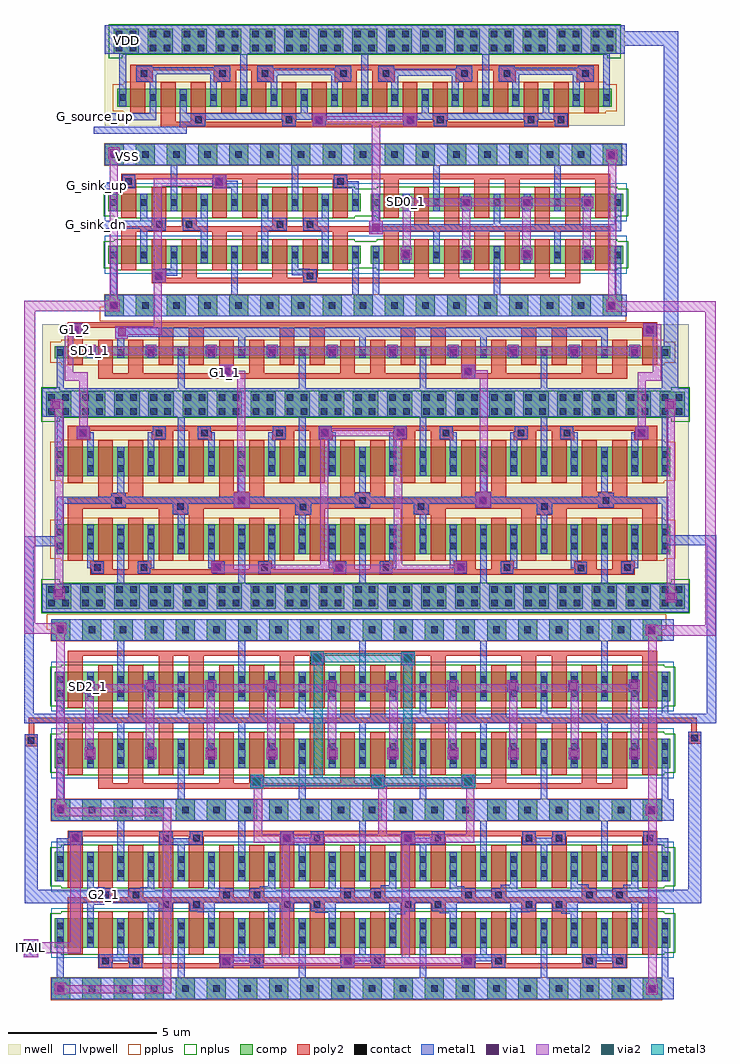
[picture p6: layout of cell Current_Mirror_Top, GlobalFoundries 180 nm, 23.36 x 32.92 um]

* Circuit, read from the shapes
.subckt Current_Mirror_Top G1_1 G1_2 G2_1 G_sink_dn G_sink_up G_source_dn G_source_up ITAIL SD0_1 SD1_1 SD2_1 VDD VSS
XM1 G2_1 G2_1 VSS VSS nfet_03v3 w=1u l=0.5u m=20
XM2 G2_1 ITAIL ITAIL VSS nfet_03v3 w=1u l=0.5u m=20
XM3 SD2_1 G2_1 VSS VSS nfet_03v3 w=1u l=0.5u m=20
XM4 SD2_1 ITAIL G1_1 VSS nfet_03v3 w=1u l=0.5u m=20
XM5 G_sink_dn G_sink_dn VSS VSS nfet_03v3 w=0.6u l=0.5u m=8
XM6 G_sink_dn G_sink_up G_sink_up VSS nfet_03v3 w=0.6u l=0.5u m=8
XM7 SD0_1 G_sink_dn VSS VSS nfet_03v3 w=0.6u l=0.5u m=8
XM8 SD0_1 G_sink_up G_source_dn VSS nfet_03v3 w=0.6u l=0.5u m=8
XM9 G1_2 G1_1 G1_1 VDD pfet_03v3 w=1u l=0.5u m=20
XM10 G1_2 G1_2 VDD VDD pfet_03v3 w=1u l=0.5u m=20
XM11 SD1_1 G1_2 VDD VDD pfet_03v3 w=0.4u l=0.5u m=10
XM12 G_sink_up G1_1 SD1_1 VDD pfet_03v3 w=0.4u l=0.5u m=10
XM13 G_source_up G_source_up VDD VDD pfet_03v3 w=0.6u l=0.5u m=8
XM14 G_source_dn G_source_dn G_source_up VDD pfet_03v3 w=0.6u l=0.5u m=8
.ends

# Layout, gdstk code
import gdstk
lib = gdstk.Library(unit=1e-6, precision=1e-09)
def R(c, l, rs):  # rectangles x0, y0, x1, y1
    for r in rs: c.add(gdstk.rectangle(r[:2], r[2:], *l))
def A(c, l, x, y, w, h, nx, ny, dx, dy):  # array of equal rectangles
    R(c, l, [(x+i*dx, y+j*dy, x+i*dx+w, y+j*dy+h) for i in range(nx) for j in range(ny)])
nwell = (21, 0)
comp = (22, 0)
poly2 = (30, 0)
pplus = (31, 0)
nplus = (32, 0)
contact = (33, 0)
metal1 = (34, 0)
via1 = (35, 0)
metal2 = (36, 0)
via2 = (38, 0)
metal3 = (42, 0)
lvpwell = (204, 0)

nmos_3p3_z2jhd6 = lib.new_cell('nmos_3p3_Z2JHD6')
R(nmos_3p3_z2jhd6, comp, [(-10.38,-0.5,10.38,0.5)])
A(nmos_3p3_z2jhd6, poly2, -9.94, -0.72, 0.5, 1.44, 20, 1, 1.02, 0)
R(nmos_3p3_z2jhd6, nplus, [(-10.17,-0.73,10.17,-0.66), (-10.54,-0.66,10.54,0.66), (-10.17,0.66,10.17,0.73)])
A(nmos_3p3_z2jhd6, contact, -10.31, -0.345, 0.22, 0.22, 21, 2, 1.02, 0.47)
A(nmos_3p3_z2jhd6, metal1, -10.315, -0.49, 0.23, 0.98, 21, 1, 1.02, 0)
R(nmos_3p3_z2jhd6, lvpwell, [(-10.5,-0.84,10.5,0.84)])

pmos_3p3_zbcnd7 = lib.new_cell('pmos_3p3_ZBCND7')
R(pmos_3p3_zbcnd7, nwell, [(-10.81,-1.15,10.81,1.15)])
R(pmos_3p3_zbcnd7, comp, [(-10.38,-0.5,10.38,0.5)])
A(pmos_3p3_zbcnd7, poly2, -9.94, -0.72, 0.5, 1.44, 20, 1, 1.02, 0)
R(pmos_3p3_zbcnd7, pplus, [(-10.17,-0.73,10.17,-0.66), (-10.54,-0.66,10.54,0.66), (-10.17,0.66,10.17,0.73)])
A(pmos_3p3_zbcnd7, contact, -10.31, -0.345, 0.22, 0.22, 21, 2, 1.02, 0.47)
A(pmos_3p3_zbcnd7, metal1, -10.315, -0.49, 0.23, 0.98, 21, 1, 1.02, 0)

pmos_3p3_5qr9e7 = lib.new_cell('pmos_3p3_5QR9E7')
R(pmos_3p3_5qr9e7, nwell, [(-10.81,-0.85,10.81,0.85)])
R(pmos_3p3_5qr9e7, comp, [(-10.38,-0.2,10.38,0.2)])
A(pmos_3p3_5qr9e7, poly2, -9.94, -0.42, 0.5, 0.84, 20, 1, 1.02, 0)
R(pmos_3p3_5qr9e7, pplus, [(-10.17,-0.43,10.17,-0.36), (-10.54,-0.36,10.54,0.36), (-10.17,0.36,10.17,0.43)])
A(pmos_3p3_5qr9e7, contact, -10.31, -0.11, 0.22, 0.22, 21, 1, 1.02, 0)
A(pmos_3p3_5qr9e7, metal1, -10.315, -0.19, 0.23, 0.38, 21, 1, 1.02, 0)

nmos_3p3_ajea3b = lib.new_cell('nmos_3p3_AJEA3B')
R(nmos_3p3_ajea3b, comp, [(-4.26,-0.3,4.26,0.3)])
A(nmos_3p3_ajea3b, poly2, -3.82, -0.52, 0.5, 1.04, 8, 1, 1.02, 0)
R(nmos_3p3_ajea3b, nplus, [(-4.05,-0.53,4.05,-0.46), (-4.42,-0.46,4.42,0.46), (-4.05,0.46,4.05,0.53)])
A(nmos_3p3_ajea3b, contact, -4.19, -0.11, 0.22, 0.22, 9, 1, 1.02, 0)
A(nmos_3p3_ajea3b, metal1, -4.195, -0.29, 0.23, 0.58, 9, 1, 1.02, 0)
R(nmos_3p3_ajea3b, lvpwell, [(-4.38,-0.64,4.38,0.64)])

pmos_3p3_dvj9e7 = lib.new_cell('pmos_3p3_DVJ9E7')
R(pmos_3p3_dvj9e7, nwell, [(-8.77,-0.95,8.77,0.95)])
R(pmos_3p3_dvj9e7, comp, [(-8.34,-0.3,8.34,0.3)])
A(pmos_3p3_dvj9e7, poly2, -7.9, -0.52, 0.5, 1.04, 16, 1, 1.02, 0)
R(pmos_3p3_dvj9e7, pplus, [(-8.13,-0.53,8.13,-0.46), (-8.5,-0.46,8.5,0.46), (-8.13,0.46,8.13,0.53)])
A(pmos_3p3_dvj9e7, contact, -8.27, -0.11, 0.22, 0.22, 17, 1, 1.02, 0)
A(pmos_3p3_dvj9e7, metal1, -8.275, -0.29, 0.23, 0.58, 17, 1, 1.02, 0)

current_mirror_top = lib.new_cell('Current_Mirror_Top')
R(current_mirror_top, nwell, [(-0.31,12.015,21.495,13.475), (0.795,13.475,3.095,13.835), (21.31,13.475,21.495,13.835), (-0.31,13.835,21.495,17.45), (-0.31,17.45,3.305,17.825), (21.305,17.45,21.495,17.825), (-0.31,17.825,5.405,18.135), (5.43,17.825,21.495,18.135), (-0.31,18.135,21.495,20.68), (-0.31,20.68,1.49,21.55), (21.31,20.68,21.495,21.55), (-0.31,21.55,21.495,21.735), (1.8,28.425,3.7,29.645), (1.8,29.645,19.305,30.325), (1.8,30.325,19.34,31.82)])
A(current_mirror_top, comp, 0, -1.045, 0.64, 0.73, 20, 2, 1.05, 6.025)
A(current_mirror_top, comp, 0, 11.055, 0.64, 0.73, 20, 1, 1.05, 0)
A(current_mirror_top, comp, -0.175, 12.135, 0.85, 0.84, 19, 2, 1.15, 6.475)
A(current_mirror_top, comp, 1.8, 22, 0.64, 0.73, 17, 2, 1.05, 5.095)
A(current_mirror_top, comp, 2.1, 30.86, 0.85, 0.84, 15, 1, 1.15, 0)
R(current_mirror_top, poly2, [(1.58,0,19.42,0.18), (1.58,0.18,2.08,0.5), (2.6,0.18,3.1,0.5), (5.66,0.18,6.16,0.5), (6.68,0.18,7.18,0.5), (9.74,0.18,10.24,0.5), (10.76,0.18,11.26,0.5), (13.82,0.18,14.32,0.5), (14.84,0.18,15.34,0.5), (17.9,0.18,18.4,0.5), (18.92,0.18,19.42,0.5), (0.56,1.695,1.06,2.225), (3.62,1.695,4.12,2.225), (4.64,1.695,5.14,2.225), (7.7,1.695,8.2,2.225), (8.72,1.695,9.22,2.225), (11.78,1.695,12.28,2.225), (12.8,1.695,13.3,2.225), (15.86,1.695,16.36,2.225), (16.88,1.695,17.38,2.225), (19.94,1.695,20.44,2.225), (0.56,2.225,20.44,2.405), (1.58,2.405,2.08,2.725), (2.6,2.405,3.1,2.725), (5.66,2.405,6.16,2.725), (6.68,2.405,7.18,2.725), (9.74,2.405,10.24,2.725), (10.76,2.405,11.26,2.725), (13.82,2.405,14.32,2.725), (14.84,2.405,15.34,2.725), (17.9,2.405,18.4,2.725), (18.92,2.405,19.42,2.725), (3.62,4.14,4.12,4.465), (0.56,4.145,1.06,4.465), (4.64,4.145,5.14,4.465), (7.7,4.145,8.2,4.465), (8.72,4.145,9.22,4.465), (11.78,4.145,12.28,4.465), (12.8,4.145,13.3,4.465), (15.86,4.145,16.36,4.465), (16.88,4.145,17.38,4.465), (19.94,4.145,20.44,4.465), (0.56,4.465,20.44,4.645), (1.58,6.06,19.42,6.24), (1.58,6.24,2.08,6.535), (2.6,6.24,3.1,6.535), (5.66,6.24,6.16,6.535), (6.68,6.24,7.18,6.56), (9.74,6.24,10.24,6.535), (10.76,6.24,11.26,6.56), (13.82,6.24,14.32,6.56), (14.84,6.24,15.34,6.535), (17.9,6.24,18.4,6.535), (18.92,6.24,19.42,6.535), (-0.905,7.49,-0.46,7.895), (21.48,7.575,21.925,7.99), (0.56,7.755,1.06,8.285), (3.62,7.755,4.12,8.285), (4.64,7.755,5.14,8.285), (7.7,7.755,8.2,8.285), (8.72,7.755,9.22,8.285), (11.78,7.755,12.28,8.285), (12.8,7.755,13.3,8.285), (15.86,7.755,16.36,8.285), (16.88,7.755,17.38,8.285), (19.94,7.755,20.44,8.285), (-0.755,7.895,-0.575,8.285), (21.59,7.99,21.77,8.285), (-0.755,8.285,21.77,8.465), (1.58,8.465,2.08,8.79), (2.6,8.465,3.1,8.79), (5.66,8.465,6.16,8.79), (6.68,8.465,7.18,8.79), (9.74,8.465,10.24,8.79), (10.76,8.465,11.26,8.79), (13.82,8.465,14.32,8.79), (14.84,8.465,15.34,8.79), (17.9,8.465,18.4,8.79), (18.92,8.465,19.42,8.79), (11.78,10.21,12.28,10.54), (8.72,10.22,9.22,10.54), (0.56,10.23,1.06,10.54), (3.62,10.23,4.12,10.54), (4.64,10.23,5.14,10.54), (7.7,10.23,8.2,10.54), (12.8,10.23,13.3,10.54), (15.86,10.23,16.36,10.54), (16.88,10.23,17.38,10.54), (19.94,10.23,20.44,10.54), (0.56,10.54,20.44,10.72), (1.32,13.285,19.68,13.465), (1.32,13.465,2.08,13.76), (2.6,13.465,3.365,13.76), (5.395,13.465,6.16,13.76), (6.68,13.465,7.43,13.76), (9.5,13.465,10.24,13.76), (10.76,13.465,11.525,13.76), (13.57,13.465,14.32,13.76), (14.84,13.465,15.605,13.76), (17.635,13.465,18.4,13.74), (18.92,13.465,19.68,13.76), (17.9,13.74,18.4,13.98), (1.58,13.76,2.08,13.98), (2.6,13.76,3.1,13.98), (5.66,13.76,6.16,13.98), (6.68,13.76,7.18,13.98), (9.74,13.76,10.24,13.98), (10.76,13.76,11.26,13.98), (13.82,13.76,14.32,13.98), (14.84,13.76,15.34,13.98), (18.92,13.76,19.42,13.98), (0.56,14.98,1.06,15.51), (3.62,14.98,4.12,15.3), (4.64,14.98,5.14,15.3), (7.7,14.98,8.2,15.28), (8.72,14.98,9.22,15.28), (11.78,14.98,12.28,15.305), (12.8,14.98,13.3,15.305), (15.86,14.98,16.36,15.295), (16.88,14.98,17.38,15.295), (19.94,14.98,20.44,15.51), (7.7,15.28,9.22,15.51), (15.86,15.295,17.38,15.51), (3.62,15.3,5.14,15.51), (11.78,15.305,13.3,15.51), (0.56,15.51,20.44,15.865), (1.58,15.865,3.1,16.05), (5.66,15.865,7.18,16.075), (9.74,15.865,11.26,16.065), (13.82,15.865,15.34,16.085), (17.9,15.865,19.42,16.075), (1.58,16.05,2.08,16.605), (2.6,16.05,3.1,16.605), (9.74,16.065,10.24,16.605), (10.76,16.065,11.26,16.605), (5.66,16.075,6.16,16.605), (6.68,16.075,7.18,16.605), (17.9,16.075,18.4,16.605), (18.92,16.075,19.42,16.605), (13.82,16.085,14.32,16.605), (14.84,16.085,15.34,16.605), (0.56,17.605,1.06,17.825), (3.62,17.605,4.12,17.825), (4.64,17.605,5.14,17.825), (7.7,17.605,8.2,17.825), (8.72,17.605,9.22,17.825), (11.78,17.605,12.28,17.825), (12.8,17.605,13.3,17.825), (15.86,17.605,16.36,17.825), (16.88,17.605,17.38,17.825), (19.94,17.605,20.44,17.825), (0.56,17.825,1.32,18.135), (3.395,17.825,4.12,18.135), (4.64,17.825,5.405,18.135), (7.45,17.825,8.2,18.135), (8.72,17.825,9.485,18.135), (11.53,17.825,12.28,18.135), (12.8,17.825,13.56,18.135), (15.6,17.825,16.36,18.135), (16.88,17.825,17.635,18.135), (19.665,17.825,20.44,18.135), (0.56,18.135,20.44,18.315), (1.58,19.89,19.42,20.07), (1.58,20.07,2.08,20.585), (2.6,20.07,3.1,20.585), (5.66,20.07,6.16,20.585), (6.68,20.07,7.18,20.585), (9.74,20.07,10.24,20.585), (10.76,20.07,11.26,20.585), (13.82,20.07,14.32,20.585), (14.84,20.07,15.34,20.585), (17.9,20.07,18.4,20.585), (18.92,20.07,19.42,20.585), (0.56,21.085,1.06,21.615), (3.62,21.085,4.12,21.615), (4.64,21.085,5.14,21.615), (7.7,21.085,8.2,21.615), (8.72,21.085,9.22,21.615), (11.78,21.085,12.28,21.615), (12.8,21.085,13.3,21.615), (15.86,21.085,16.36,21.615), (16.88,21.085,17.38,21.615), (19.94,21.085,20.44,21.615), (0.56,21.615,20.44,21.795), (3.38,23.115,17.835,23.295), (3.38,23.295,3.88,23.615), (4.4,23.295,4.9,23.555), (7.46,23.295,7.96,23.555), (8.48,23.295,8.98,23.615), (12.235,23.295,12.735,23.775), (13.255,23.295,13.755,23.775), (16.315,23.295,16.815,23.775), (17.335,23.295,17.835,23.775), (2.36,24.375,2.86,24.855), (5.42,24.375,5.92,24.855), (6.44,24.375,6.94,24.855), (9.5,24.375,10,24.855), (11.215,24.375,11.715,24.855), (14.275,24.375,14.775,24.855), (15.295,24.375,15.795,24.855), (18.355,24.375,18.855,24.855), (2.36,24.855,18.855,25.035), (3.38,25.035,3.88,25.355), (4.4,25.035,4.9,25.355), (7.46,25.035,7.96,25.355), (8.48,25.035,8.98,25.355), (12.235,25.035,12.735,25.54), (13.255,25.035,13.755,25.54), (16.315,25.035,16.815,25.54), (17.335,25.035,17.835,25.54), (11.215,26.14,11.715,26.62), (14.275,26.14,14.775,26.62), (15.295,26.14,15.795,26.62), (18.355,26.14,18.855,26.62), (2.36,26.3,2.86,26.62), (5.42,26.3,5.92,26.62), (9.5,26.3,10,26.62), (6.44,26.36,6.94,26.62), (2.36,26.62,18.855,26.8), (3.69,28.38,17.45,28.56), (3.69,28.56,4.19,29.075), (4.71,28.56,5.21,29.075), (7.77,28.56,8.27,29.075), (8.79,28.56,9.29,29.075), (11.85,28.56,12.35,29.075), (12.87,28.56,13.37,29.075), (15.93,28.56,16.43,29.075), (16.95,28.56,17.45,29.075), (2.67,29.675,3.17,29.895), (5.73,29.675,6.23,29.895), (6.75,29.675,7.25,29.895), (9.81,29.675,10.31,29.895), (10.83,29.675,11.33,29.895), (13.89,29.675,14.39,29.895), (14.91,29.675,15.41,29.895), (17.97,29.675,18.47,29.895), (2.67,29.895,3.425,30.305), (5.475,29.895,6.23,30.305), (6.75,29.895,7.505,30.305), (9.555,29.895,10.31,30.305), (10.83,29.895,11.585,30.305), (13.635,29.895,14.39,30.305), (14.91,29.895,15.665,30.305), (17.725,29.895,18.47,30.305), (2.67,30.305,18.47,30.485)])
R(current_mirror_top, pplus, [(-0.02,-1.065,20.61,-0.295), (-0.02,4.96,20.61,5.73), (-0.02,11.035,20.61,11.425), (-0.16,11.425,20.75,11.945), (1.64,21.84,19.4,22.325), (1.78,22.325,19.26,22.75), (1.78,27.075,19.26,27.845)])
R(current_mirror_top, nplus, [(-0.335,11.975,21.535,13.005), (-0.335,13.005,0.28,13.135), (20.905,13.005,21.535,13.135), (-0.335,18.45,0.28,18.58), (20.905,18.45,21.535,18.58), (-0.335,18.58,21.535,19.48), (-0.335,19.48,0.28,19.61), (20.905,19.48,21.535,19.61), (10.6,23.615,10.615,24.535), (10.6,25.38,10.615,26.3), (1.94,30.7,2.39,30.83), (18.75,30.7,19.21,30.83), (1.94,30.83,19.21,31.86)])
A(current_mirror_top, contact, 0.21, -0.785, 0.22, 0.22, 20, 2, 1.05, 6.025)
A(current_mirror_top, contact, 0.21, 11.315, 0.22, 0.22, 20, 1, 1.05, 0)
A(current_mirror_top, contact, 2.01, 22.26, 0.22, 0.22, 17, 2, 1.05, 5.095)
R(current_mirror_top, contact, [(1.72,0.14,1.94,0.36), (2.74,0.14,2.96,0.36), (5.8,0.14,6.02,0.36), (6.82,0.14,7.04,0.36), (9.88,0.14,10.1,0.36), (10.9,0.14,11.12,0.36), (13.96,0.14,14.18,0.36), (14.98,0.14,15.2,0.36), (18.04,0.14,18.26,0.36), (19.06,0.14,19.28,0.36), (3.76,2.045,3.98,2.265), (4.78,2.045,5,2.265), (7.84,2.045,8.06,2.265), (8.86,2.045,9.08,2.265), (11.92,2.045,12.14,2.265), (12.94,2.045,13.16,2.265), (16,2.045,16.22,2.265), (17.02,2.045,17.24,2.265), (1.72,2.365,1.94,2.585), (2.74,2.365,2.96,2.585), (5.8,2.365,6.02,2.585), (6.82,2.365,7.04,2.585), (9.88,2.365,10.1,2.585), (10.9,2.365,11.12,2.585), (13.96,2.365,14.18,2.585), (14.98,2.365,15.2,2.585), (18.04,2.365,18.26,2.585), (19.06,2.365,19.28,2.585), (3.76,4.28,3.98,4.5), (0.7,4.285,0.92,4.505), (4.78,4.285,5,4.505), (7.84,4.285,8.06,4.505), (8.86,4.285,9.08,4.505), (11.92,4.285,12.14,4.505), (12.94,4.285,13.16,4.505), (16,4.285,16.22,4.505), (17.02,4.285,17.24,4.505), (20.08,4.285,20.3,4.505), (6.82,6.2,7.04,6.42), (10.9,6.2,11.12,6.42), (13.96,6.2,14.18,6.42), (-0.8,7.58,-0.58,7.8), (21.59,7.665,21.81,7.885), (11.92,10.35,12.14,10.57), (8.86,10.36,9.08,10.58), (-0.105,12.21,0.115,12.43), (0.365,12.21,0.585,12.43), (1.045,12.21,1.265,12.43), (1.515,12.21,1.735,12.43), (2.195,12.21,2.415,12.43), (2.665,12.21,2.885,12.43), (3.345,12.21,3.565,12.43), (3.815,12.21,4.035,12.43), (4.495,12.21,4.715,12.43), (4.965,12.21,5.185,12.43), (5.645,12.21,5.865,12.43), (6.115,12.21,6.335,12.43), (6.795,12.21,7.015,12.43), (7.265,12.21,7.485,12.43), (7.945,12.21,8.165,12.43), (8.415,12.21,8.635,12.43), (9.095,12.21,9.315,12.43), (9.565,12.21,9.785,12.43), (10.245,12.21,10.465,12.43), (10.715,12.21,10.935,12.43), (11.395,12.21,11.615,12.43), (11.865,12.21,12.085,12.43), (12.545,12.21,12.765,12.43), (13.015,12.21,13.235,12.43), (13.695,12.21,13.915,12.43), (14.165,12.21,14.385,12.43), (14.845,12.21,15.065,12.43), (15.315,12.21,15.535,12.43), (15.995,12.21,16.215,12.43), (16.465,12.21,16.685,12.43), (17.145,12.21,17.365,12.43), (17.615,12.21,17.835,12.43), (18.295,12.21,18.515,12.43), (18.765,12.21,18.985,12.43), (19.445,12.21,19.665,12.43), (19.915,12.21,20.135,12.43), (20.595,12.21,20.815,12.43), (21.065,12.21,21.285,12.43), (-0.105,12.68,0.115,12.9), (0.365,12.68,0.585,12.9), (1.045,12.68,1.265,12.9), (1.515,12.68,1.735,12.9), (2.195,12.68,2.415,12.9), (2.665,12.68,2.885,12.9), (3.345,12.68,3.565,12.9), (3.815,12.68,4.035,12.9), (4.495,12.68,4.715,12.9), (4.965,12.68,5.185,12.9), (5.645,12.68,5.865,12.9), (6.115,12.68,6.335,12.9), (6.795,12.68,7.015,12.9), (7.265,12.68,7.485,12.9), (7.945,12.68,8.165,12.9), (8.415,12.68,8.635,12.9), (9.095,12.68,9.315,12.9), (9.565,12.68,9.785,12.9), (10.245,12.68,10.465,12.9), (10.715,12.68,10.935,12.9), (11.395,12.68,11.615,12.9), (11.865,12.68,12.085,12.9), (12.545,12.68,12.765,12.9), (13.015,12.68,13.235,12.9), (13.695,12.68,13.915,12.9), (14.165,12.68,14.385,12.9), (14.845,12.68,15.065,12.9), (15.315,12.68,15.535,12.9), (15.995,12.68,16.215,12.9), (16.465,12.68,16.685,12.9), (17.145,12.68,17.365,12.9), (17.615,12.68,17.835,12.9), (18.295,12.68,18.515,12.9), (18.765,12.68,18.985,12.9), (19.445,12.68,19.665,12.9), (19.915,12.68,20.135,12.9), (20.595,12.68,20.815,12.9), (21.065,12.68,21.285,12.9), (17.75,13.4,17.97,13.62), (1.445,13.41,1.665,13.63), (3.015,13.41,3.235,13.63), (5.52,13.41,5.74,13.63), (7.08,13.41,7.3,13.63), (9.625,13.41,9.845,13.63), (11.175,13.41,11.395,13.63), (13.695,13.41,13.915,13.63), (15.255,13.41,15.475,13.63), (19.33,13.41,19.55,13.63), (8.385,15.46,8.605,15.68), (4.245,15.47,4.465,15.69), (16.52,15.47,16.74,15.69), (12.365,15.475,12.585,15.695), (2.15,15.67,2.37,15.89), (10.38,15.675,10.6,15.895), (6.315,15.68,6.535,15.9), (18.6,15.68,18.82,15.9), (14.46,15.685,14.68,15.905), (0.965,17.96,1.185,18.18), (3.53,17.96,3.75,18.18), (5.05,17.96,5.27,18.18), (7.585,17.96,7.805,18.18), (9.13,17.96,9.35,18.18), (11.665,17.96,11.885,18.18), (13.205,17.96,13.425,18.18), (15.735,17.96,15.955,18.18), (17.28,17.96,17.5,18.18), (19.8,17.96,20.02,18.18), (-0.105,18.685,0.115,18.905), (0.365,18.685,0.585,18.905), (1.045,18.685,1.265,18.905), (1.515,18.685,1.735,18.905), (2.195,18.685,2.415,18.905), (2.665,18.685,2.885,18.905), (3.345,18.685,3.565,18.905), (3.815,18.685,4.035,18.905), (4.495,18.685,4.715,18.905), (4.965,18.685,5.185,18.905), (5.645,18.685,5.865,18.905), (6.115,18.685,6.335,18.905), (6.795,18.685,7.015,18.905), (7.265,18.685,7.485,18.905), (7.945,18.685,8.165,18.905), (8.415,18.685,8.635,18.905), (9.095,18.685,9.315,18.905), (9.565,18.685,9.785,18.905), (10.245,18.685,10.465,18.905), (10.715,18.685,10.935,18.905), (11.395,18.685,11.615,18.905), (11.865,18.685,12.085,18.905), (12.545,18.685,12.765,18.905), (13.015,18.685,13.235,18.905), (13.695,18.685,13.915,18.905), (14.165,18.685,14.385,18.905), (14.845,18.685,15.065,18.905), (15.315,18.685,15.535,18.905), (15.995,18.685,16.215,18.905), (16.465,18.685,16.685,18.905), (17.145,18.685,17.365,18.905), (17.615,18.685,17.835,18.905), (18.295,18.685,18.515,18.905), (18.765,18.685,18.985,18.905), (19.445,18.685,19.665,18.905), (19.915,18.685,20.135,18.905), (20.595,18.685,20.815,18.905), (21.065,18.685,21.285,18.905), (-0.105,19.155,0.115,19.375), (0.365,19.155,0.585,19.375), (1.045,19.155,1.265,19.375), (1.515,19.155,1.735,19.375), (2.195,19.155,2.415,19.375), (2.665,19.155,2.885,19.375), (3.345,19.155,3.565,19.375), (3.815,19.155,4.035,19.375), (4.495,19.155,4.715,19.375), (4.965,19.155,5.185,19.375), (5.645,19.155,5.865,19.375), (6.115,19.155,6.335,19.375), (6.795,19.155,7.015,19.375), (7.265,19.155,7.485,19.375), (7.945,19.155,8.165,19.375), (8.415,19.155,8.635,19.375), (9.095,19.155,9.315,19.375), (9.565,19.155,9.785,19.375), (10.245,19.155,10.465,19.375), (10.715,19.155,10.935,19.375), (11.395,19.155,11.615,19.375), (11.865,19.155,12.085,19.375), (12.545,19.155,12.765,19.375), (13.015,19.155,13.235,19.375), (13.695,19.155,13.915,19.375), (14.165,19.155,14.385,19.375), (14.845,19.155,15.065,19.375), (15.315,19.155,15.535,19.375), (15.995,19.155,16.215,19.375), (16.465,19.155,16.685,19.375), (17.145,19.155,17.365,19.375), (17.615,19.155,17.835,19.375), (18.295,19.155,18.515,19.375), (18.765,19.155,18.985,19.375), (19.445,19.155,19.665,19.375), (19.915,19.155,20.135,19.375), (20.595,19.155,20.815,19.375), (21.065,19.155,21.285,19.375), (5.8,20.03,6.02,20.25), (13.96,20.03,14.18,20.25), (0.7,21.435,0.92,21.655), (20.08,21.435,20.3,21.655), (3.52,23.255,3.74,23.475), (8.62,23.255,8.84,23.475), (3.52,24.995,3.74,25.215), (4.54,24.995,4.76,25.215), (7.6,24.995,7.82,25.215), (8.62,24.995,8.84,25.215), (2.5,26.44,2.72,26.66), (5.56,26.44,5.78,26.66), (9.64,26.44,9.86,26.66), (4.85,28.52,5.07,28.74), (7.91,28.52,8.13,28.74), (8.93,28.52,9.15,28.74), (11.99,28.52,12.21,28.74), (13.01,28.52,13.23,28.74), (16.07,28.52,16.29,28.74), (17.09,28.52,17.31,28.74), (3.02,30.08,3.24,30.3), (5.66,30.08,5.88,30.3), (7.1,30.08,7.32,30.3), (9.74,30.08,9.96,30.3), (11.18,30.08,11.4,30.3), (13.82,30.08,14.04,30.3), (15.26,30.08,15.48,30.3), (17.91,30.08,18.13,30.3), (2.17,30.935,2.39,31.155), (2.64,30.935,2.86,31.155), (3.32,30.935,3.54,31.155), (3.79,30.935,4.01,31.155), (4.47,30.935,4.69,31.155), (4.94,30.935,5.16,31.155), (5.62,30.935,5.84,31.155), (6.09,30.935,6.31,31.155), (6.77,30.935,6.99,31.155), (7.24,30.935,7.46,31.155), (7.92,30.935,8.14,31.155), (8.39,30.935,8.61,31.155), (9.07,30.935,9.29,31.155), (9.54,30.935,9.76,31.155), (10.22,30.935,10.44,31.155), (10.69,30.935,10.91,31.155), (11.37,30.935,11.59,31.155), (11.84,30.935,12.06,31.155), (12.52,30.935,12.74,31.155), (12.99,30.935,13.21,31.155), (13.67,30.935,13.89,31.155), (14.14,30.935,14.36,31.155), (14.82,30.935,15.04,31.155), (15.29,30.935,15.51,31.155), (15.97,30.935,16.19,31.155), (16.44,30.935,16.66,31.155), (17.12,30.935,17.34,31.155), (17.59,30.935,17.81,31.155), (18.27,30.935,18.49,31.155), (18.74,30.935,18.96,31.155), (2.17,31.405,2.39,31.625), (2.64,31.405,2.86,31.625), (3.32,31.405,3.54,31.625), (3.79,31.405,4.01,31.625), (4.47,31.405,4.69,31.625), (4.94,31.405,5.16,31.625), (5.62,31.405,5.84,31.625), (6.09,31.405,6.31,31.625), (6.77,31.405,6.99,31.625), (7.24,31.405,7.46,31.625), (7.92,31.405,8.14,31.625), (8.39,31.405,8.61,31.625), (9.07,31.405,9.29,31.625), (9.54,31.405,9.76,31.625), (10.22,31.405,10.44,31.625), (10.69,31.405,10.91,31.625), (11.37,31.405,11.59,31.625), (11.84,31.405,12.06,31.625), (12.52,31.405,12.74,31.625), (12.99,31.405,13.21,31.625), (13.67,31.405,13.89,31.625), (14.14,31.405,14.36,31.625), (14.82,31.405,15.04,31.625), (15.29,31.405,15.51,31.625), (15.97,31.405,16.19,31.625), (16.44,31.405,16.66,31.625), (17.12,31.405,17.34,31.625), (17.59,31.405,17.81,31.625), (18.27,31.405,18.49,31.625), (18.74,31.405,18.96,31.625)])
A(current_mirror_top, metal1, 0.185, -0.315, 0.23, 1.02, 6, 1, 4.08, 0)
A(current_mirror_top, metal1, 1.605, 0.24, 1.47, 0.235, 5, 1, 4.08, 0)
A(current_mirror_top, metal1, 2.225, 0.475, 0.23, 0.23, 5, 1, 4.08, 0)
A(current_mirror_top, metal1, 2.225, 3.925, 0.23, 1.055, 5, 2, 4.08, 6.075)
A(current_mirror_top, metal1, 8.345, 3.925, 0.23, 0.245, 4, 1, 4.08, 0)
A(current_mirror_top, metal1, 7.725, 4.17, 1.47, 0.235, 3, 1, 4.08, 0)
A(current_mirror_top, metal1, 0.185, 5.71, 0.23, 1.055, 6, 1, 4.08, 0)
A(current_mirror_top, metal1, 2.225, 7.745, 0.23, 0.52, 5, 1, 4.08, 0)
A(current_mirror_top, metal1, 2.225, 12.975, 0.23, 1.015, 5, 1, 4.08, 0)
A(current_mirror_top, metal1, 1.205, 13.735, 0.23, 0.255, 6, 1, 2.04, 0)
A(current_mirror_top, metal1, 0.185, 17.595, 0.23, 1.015, 6, 1, 4.08, 0)
A(current_mirror_top, metal1, 1.205, 17.595, 0.23, 0.255, 10, 1, 2.04, 0)
A(current_mirror_top, metal1, 0.185, 19.57, 0.23, 1.025, 5, 1, 4.08, 0)
A(current_mirror_top, metal1, 7.265, 20.65, 0.365, 0.395, 3, 1, 2.03, 0)
A(current_mirror_top, metal1, 3.005, 24.365, 0.23, 0.515, 4, 1, 2.04, 0)
A(current_mirror_top, metal1, 4.335, 28.855, 0.23, 0.23, 4, 1, 4.08, 0)
A(current_mirror_top, metal1, 2.295, 29.665, 0.23, 1.195, 5, 1, 4.08, 0)
A(current_mirror_top, metal1, 5.355, 29.665, 0.23, 0.255, 7, 1, 2.04, 0)
R(current_mirror_top, metal1, [(0,-1.045,21,-0.315), (1.605,0.025,2.055,0.24), (2.625,0.025,3.075,0.24), (5.685,0.025,6.135,0.24), (6.705,0.025,7.155,0.24), (9.765,0.025,10.215,0.24), (10.785,0.025,11.235,0.24), (13.845,0.025,14.295,0.24), (14.865,0.025,15.315,0.24), (17.925,0.025,18.375,0.24), (18.945,0.025,19.395,0.24), (-0.93,0.38,-0.435,0.98), (1.205,1.685,1.435,2.15), (3.245,1.685,3.475,1.93), (5.285,1.685,5.515,1.895), (7.325,1.685,7.555,1.915), (9.365,1.685,9.595,1.885), (11.405,1.685,11.635,1.835), (13.445,1.685,13.675,1.86), (15.485,1.685,15.715,1.89), (17.525,1.685,17.755,1.84), (19.565,1.685,19.795,2.205), (11.405,1.835,11.945,1.93), (17.195,1.84,17.755,1.93), (13.11,1.86,13.675,1.93), (8.905,1.885,9.595,1.93), (15.485,1.89,16.145,1.93), (4.935,1.895,5.515,1.93), (7.325,1.915,8.05,1.93), (3.245,1.93,4.095,2.205), (4.665,1.93,5.515,2.205), (7.325,1.93,8.175,2.205), (8.745,1.93,9.595,2.205), (11.405,1.93,12.255,2.205), (12.825,1.93,13.675,2.205), (15.485,1.93,16.335,2.205), (16.905,1.93,17.755,2.205), (1.205,2.15,1.79,2.205), (-0.905,2.205,21.925,2.65), (-0.905,2.65,-0.46,7.895), (1.205,2.65,2.055,2.7), (2.625,2.65,3.475,2.7), (5.285,2.65,6.135,2.7), (6.705,2.65,7.555,2.7), (9.365,2.65,10.215,2.7), (10.785,2.65,11.635,2.7), (13.445,2.65,14.295,2.7), (14.865,2.65,15.715,2.7), (17.525,2.65,18.375,2.7), (18.945,2.65,19.795,2.7), (21.48,2.65,21.925,7.99), (1.205,2.7,1.795,2.74), (3.005,2.7,3.475,2.735), (5.285,2.7,5.845,2.715), (7.025,2.7,7.555,2.77), (9.365,2.7,9.87,2.715), (11.12,2.7,11.635,2.8), (13.445,2.7,13.925,2.78), (15.155,2.7,15.715,2.82), (17.525,2.7,18.125,2.835), (19.29,2.7,19.795,2.83), (5.285,2.715,5.515,2.97), (9.365,2.715,9.595,2.995), (3.245,2.735,3.475,2.945), (1.205,2.74,1.435,2.945), (7.325,2.77,7.555,2.985), (13.445,2.78,13.675,2.99), (11.405,2.8,11.635,2.98), (15.485,2.82,15.715,2.98), (19.565,2.83,19.795,3), (17.525,2.835,17.755,3), (0.185,3.925,0.415,4.17), (4.265,3.925,4.495,4.165), (3.645,4.165,4.665,4.17), (0.185,4.17,1.035,4.4), (3.645,4.17,5.115,4.4), (19.965,4.17,20.815,4.4), (0.585,4.4,1.035,4.62), (3.645,4.4,4.095,4.615), (4.665,4.4,5.115,4.62), (19.965,4.4,20.415,4.62), (7.725,4.405,8.175,4.62), (8.745,4.405,9.195,4.62), (11.805,4.405,12.255,4.62), (12.825,4.405,13.275,4.62), (15.885,4.405,16.335,4.62), (16.905,4.405,17.355,4.62), (0,4.98,21,5.71), (6.705,6.085,7.155,6.535), (10.785,6.085,11.235,6.535), (13.845,6.085,14.295,6.535), (15.41,7.045,15.775,7.44), (7.26,7.05,7.625,7.445), (9.305,7.05,9.67,7.445), (11.335,7.05,11.7,7.445), (13.37,7.05,13.735,7.445), (19.49,7.05,19.855,7.445), (5.215,7.055,5.58,7.45), (17.45,7.055,17.815,7.45), (3.17,7.06,3.535,7.455), (1.12,7.065,1.485,7.46), (-0.91,8.265,22.43,8.59), (-0.91,8.59,-0.585,14.25), (0.185,8.59,0.415,9.02), (4.265,8.59,4.495,9.045), (8.345,8.59,8.575,9.04), (12.425,8.59,12.655,9.055), (16.505,8.59,16.735,9.05), (20.585,8.59,20.815,9.035), (22.105,8.59,22.43,14.28), (1.1,9.285,1.465,9.68), (5.19,9.32,5.555,9.715), (7.24,9.32,7.605,9.715), (9.27,9.32,9.635,9.715), (11.32,9.32,11.685,9.715), (13.355,9.32,13.72,9.715), (15.38,9.32,15.745,9.715), (17.43,9.32,17.795,9.715), (3.155,9.325,3.52,9.72), (19.485,9.34,19.85,9.735), (11.805,10.235,12.255,10.685), (8.745,10.245,9.195,10.695), (0,11.055,21,11.785), (-0.31,12.015,21.495,12.975), (1.345,13.31,1.77,13.495), (2.915,13.31,3.34,13.495), (5.42,13.31,5.845,13.34), (6.98,13.31,7.405,13.495), (9.525,13.31,9.95,13.495), (11.075,13.31,11.5,13.495), (13.595,13.31,14.02,13.495), (15.155,13.31,15.58,13.495), (17.66,13.31,18.065,13.495), (19.23,13.31,19.655,13.495), (5.4,13.34,5.845,13.495), (1.205,13.495,1.77,13.735), (2.915,13.495,3.475,13.735), (5.285,13.495,5.845,13.735), (6.98,13.495,7.555,13.735), (9.365,13.495,9.95,13.735), (11.075,13.495,11.635,13.735), (13.445,13.495,14.02,13.735), (15.155,13.495,15.715,13.735), (17.525,13.495,18.065,13.715), (19.23,13.495,19.795,13.735), (17.525,13.715,17.755,13.99), (13.445,13.735,14.005,13.74), (15.485,13.735,15.715,13.99), (19.565,13.735,19.795,13.99), (13.445,13.74,13.675,13.99), (-0.91,14.25,0.3,14.575), (20.655,14.28,22.43,14.605), (0.185,14.97,0.415,15.675), (4.265,14.97,4.495,15.325), (8.345,14.97,8.575,15.305), (12.425,14.97,12.655,15.33), (16.505,14.97,16.735,15.32), (20.585,14.97,20.815,15.675), (8.22,15.305,8.77,15.675), (16.37,15.32,16.89,15.675), (4.09,15.325,4.62,15.675), (12.22,15.33,12.73,15.675), (2.015,15.535,2.505,15.675), (6.16,15.535,6.69,15.675), (10.23,15.535,10.75,15.675), (14.3,15.535,14.84,15.675), (18.445,15.535,18.975,15.675), (0.185,15.675,20.815,15.905), (2.015,15.905,2.505,16.025), (6.16,15.905,6.69,16.05), (10.23,15.905,10.75,16.04), (14.3,15.905,14.84,16.06), (18.445,15.905,18.975,16.05), (2.225,16.025,2.455,16.615), (10.385,16.04,10.615,16.615), (6.305,16.05,6.535,16.615), (18.545,16.05,18.775,16.615), (14.465,16.06,14.695,16.615), (0.855,17.85,1.435,18.095), (3.245,17.85,3.86,18.095), (4.94,17.85,5.515,18.095), (7.325,17.85,7.915,18.095), (9.02,17.85,9.595,18.095), (11.405,17.85,11.995,18.095), (13.095,17.85,13.675,18.095), (15.485,17.85,16.065,18.095), (17.17,17.85,17.755,18.095), (19.565,17.85,20.13,18.095), (0.855,18.095,1.295,18.29), (3.42,18.095,3.86,18.29), (4.94,18.095,5.38,18.29), (7.475,18.095,7.915,18.29), (9.02,18.095,9.46,18.29), (11.555,18.095,11.995,18.29), (13.095,18.095,13.535,18.29), (15.625,18.095,16.065,18.29), (17.17,18.095,17.61,18.29), (19.69,18.095,20.13,18.29), (-0.31,18.61,21.495,19.57), (20.585,19.57,21.15,20.595), (5.685,19.915,6.135,20.365), (13.845,19.915,14.295,20.365), (20.66,20.595,21.15,31.13), (1.14,20.65,1.505,21.045), (3.18,20.65,3.545,21.045), (5.215,20.65,5.58,21.045), (13.375,20.65,13.74,21.045), (15.4,20.65,15.765,21.045), (17.46,20.65,17.825,21.045), (19.495,20.65,19.86,21.045), (10.385,20.805,10.615,21.305), (2.225,20.815,2.455,21.245), (14.465,20.845,14.695,21.305), (18.545,20.86,18.775,21.305), (6.305,20.865,6.535,21.305), (2.155,21.245,2.58,21.305), (2.155,21.305,18.775,21.615), (0.585,21.32,1.035,21.77), (19.965,21.32,20.415,21.77), (2.155,21.615,2.58,21.665), (1.8,22,19.415,22.73), (1.985,22.73,2.215,23.785), (6.065,22.73,6.295,23.8), (10.145,22.73,10.375,23.785), (10.84,22.73,11.07,24.13), (14.92,22.73,15.15,24.305), (19,22.73,19.23,24.26), (3.405,23.14,3.855,23.375), (8.505,23.14,8.955,23.38), (3.405,23.375,4.255,23.59), (8.105,23.38,8.955,23.59), (3.665,23.59,4.255,23.605), (8.105,23.59,8.715,23.61), (4.025,23.605,4.255,23.82), (8.105,23.61,8.335,23.785), (13.805,23.9,14.18,24.295), (15.855,23.9,16.23,24.295), (11.78,23.91,12.155,24.305), (17.9,23.91,18.275,24.305), (12.88,24.365,13.11,24.87), (16.96,24.365,17.19,24.87), (10.73,24.765,11.18,24.87), (10.73,24.87,19.23,25.1), (3.005,24.88,3.855,24.95), (4.425,24.88,5.275,25.33), (7.085,24.88,7.935,25.33), (8.505,24.88,9.355,25.33), (1.445,24.95,3.855,25.23), (10.73,25.1,11.18,25.215), (14.92,25.1,15.15,25.685), (19,25.1,19.23,25.715), (10.84,25.215,11.07,25.675), (3.005,25.23,3.855,25.33), (3.005,25.33,3.235,25.66), (5.045,25.33,5.275,25.585), (7.085,25.33,7.315,25.605), (9.125,25.33,9.355,25.58), (13.815,25.635,14.19,26.03), (15.85,25.64,16.225,26.035), (17.9,25.64,18.275,26.035), (11.775,25.655,12.15,26.05), (1.985,26.13,2.215,26.29), (4.025,26.13,4.255,27.095), (6.065,26.13,6.295,26.325), (8.105,26.13,8.335,27.095), (10.145,26.13,10.375,26.325), (12.88,26.13,13.11,27.095), (16.96,26.13,17.19,27.095), (1.455,26.29,2.565,26.325), (1.455,26.325,2.835,26.52), (5.445,26.325,6.295,26.575), (9.525,26.325,10.375,26.555), (2.385,26.52,2.835,26.775), (9.525,26.555,9.975,26.775), (5.445,26.575,5.895,26.775), (1.8,27.095,19.415,27.825), (1.425,28.16,4.565,28.39), (4.335,28.39,4.565,28.405), (4.335,28.405,5.185,28.625), (7.795,28.405,8.245,28.625), (8.815,28.405,9.265,28.625), (11.875,28.405,12.325,28.625), (12.895,28.405,13.345,28.625), (15.955,28.405,16.405,28.625), (16.975,28.405,17.425,28.625), (1.43,28.62,3.545,28.85), (4.335,28.625,17.425,28.855), (3.315,28.85,3.545,29.92), (2.86,29.92,3.545,30.165), (5.355,29.92,6.04,30.165), (6.94,29.92,7.625,30.135), (9.435,29.92,10.12,30.135), (11.02,29.92,11.705,30.12), (13.515,29.92,14.2,30.12), (15.1,29.92,15.785,30.15), (17.595,29.92,18.29,30.15), (11.02,30.12,14.2,30.35), (6.94,30.135,10.12,30.365), (15.1,30.15,18.29,30.38), (2.86,30.165,6.04,30.395), (11.02,30.35,11.56,30.46), (13.66,30.35,14.2,30.46), (6.94,30.365,7.48,30.46), (9.58,30.365,10.12,30.46), (15.1,30.38,15.64,30.46), (17.75,30.38,18.29,30.46), (2.86,30.395,3.4,30.46), (5.5,30.395,6.04,30.46), (1.8,30.86,19.34,31.13), (1.8,31.13,21.15,31.62), (1.8,31.62,19.34,31.82)])
A(current_mirror_top, via1, 0.175, -0.81, 0.26, 0.26, 1, 3, 0, 6.075)
A(current_mirror_top, via1, 7.315, 20.72, 0.26, 0.26, 3, 1, 2.03, 0)
R(current_mirror_top, via1, [(20.13,-0.825,20.39,-0.565), (5.77,0.115,6.03,0.375), (9.875,0.12,10.135,0.38), (13.935,0.12,14.195,0.38), (-0.805,0.565,-0.545,0.825), (7.81,4.26,8.07,4.52), (11.9,4.27,12.16,4.53), (0.685,4.28,0.945,4.54), (20.115,5.205,20.375,5.465), (6.795,6.175,7.055,6.435), (13.93,6.175,14.19,6.435), (10.875,6.18,11.135,6.44), (15.46,7.115,15.72,7.375), (7.31,7.12,7.57,7.38), (9.355,7.12,9.615,7.38), (11.385,7.12,11.645,7.38), (13.42,7.12,13.68,7.38), (19.54,7.12,19.8,7.38), (5.265,7.125,5.525,7.385), (17.5,7.125,17.76,7.385), (3.22,7.13,3.48,7.39), (1.17,7.135,1.43,7.395), (1.15,9.355,1.41,9.615), (5.24,9.39,5.5,9.65), (7.29,9.39,7.55,9.65), (9.32,9.39,9.58,9.65), (11.37,9.39,11.63,9.65), (13.405,9.39,13.665,9.65), (15.43,9.39,15.69,9.65), (17.48,9.39,17.74,9.65), (3.205,9.395,3.465,9.655), (19.535,9.41,19.795,9.67), (8.825,10.33,9.085,10.59), (11.9,10.335,12.16,10.595), (20.115,11.28,20.375,11.54), (20.775,12.42,21.035,12.68), (0.13,12.525,0.39,12.785), (9.585,13.39,9.845,13.65), (5.45,13.41,5.71,13.67), (13.69,13.415,13.95,13.675), (6.29,15.655,6.55,15.915), (14.43,15.66,14.69,15.92), (0.935,17.935,1.195,18.195), (19.775,17.935,20.035,18.195), (9.095,17.94,9.355,18.2), (11.655,17.945,11.915,18.205), (0.03,18.875,0.29,19.135), (20.755,18.875,21.015,19.135), (13.93,20.005,14.19,20.265), (5.77,20.01,6.03,20.27), (1.19,20.72,1.45,20.98), (3.23,20.72,3.49,20.98), (5.265,20.72,5.525,20.98), (13.425,20.72,13.685,20.98), (15.45,20.72,15.71,20.98), (17.51,20.72,17.77,20.98), (19.545,20.72,19.805,20.98), (2.25,21.33,2.51,21.59), (0.665,21.405,0.925,21.665), (20.055,21.415,20.315,21.675), (18.77,22.225,19.03,22.485), (1.975,22.235,2.235,22.495), (3.485,23.22,3.745,23.48), (13.86,23.97,14.12,24.23), (15.91,23.97,16.17,24.23), (11.835,23.98,12.095,24.24), (17.955,23.98,18.215,24.24), (10.825,24.855,11.085,25.115), (13.87,25.705,14.13,25.965), (15.905,25.71,16.165,25.97), (17.955,25.71,18.215,25.97), (11.83,25.725,12.09,25.985), (5.525,26.41,5.785,26.67), (18.77,27.29,19.03,27.55), (1.975,27.38,2.235,27.64), (8.89,28.485,9.15,28.745), (11.985,28.485,12.245,28.745)])
A(current_mirror_top, metal2, 7.265, 20.65, 0.365, 0.035, 3, 1, 2.03, 0)
A(current_mirror_top, metal2, 7.265, 20.965, 0.365, 0.08, 3, 1, 2.03, 0)
R(current_mirror_top, metal2, [(20.075,-0.885,20.46,-0.505), (0.12,-0.87,0.505,-0.84), (0.12,-0.84,4.04,-0.56), (0.12,-0.56,0.505,-0.49), (3.76,-0.56,4.04,5.14), (20.145,-0.505,20.425,5.145), (5.695,0.04,6.11,0.095), (9.805,0.04,10.22,0.095), (13.86,0.04,14.275,0.095), (5.695,0.095,14.275,0.375), (5.695,0.375,6.11,0.455), (7.77,0.375,8.05,4.185), (9.805,0.375,10.22,0.455), (11.815,0.375,12.095,4.2), (13.86,0.375,14.275,0.46), (-0.93,0.38,-0.435,0.515), (-0.93,0.515,1,0.88), (-0.93,0.88,-0.435,0.98), (0.635,0.88,1,4.595), (7.74,4.185,8.15,4.24), (11.815,4.2,12.235,4.24), (6.835,4.24,14.275,4.52), (6.835,4.52,7.115,6.085), (7.74,4.52,8.15,4.605), (11.035,4.52,11.315,6.085), (11.83,4.52,12.235,4.6), (13.995,4.52,14.275,6.085), (0.135,5.14,4.04,5.205), (20.06,5.145,20.445,5.525), (0.12,5.205,4.04,5.42), (0.12,5.42,0.505,5.585), (20.145,5.525,20.425,11.22), (0.165,5.585,0.445,11.28), (6.705,6.085,7.155,6.17), (10.785,6.085,11.315,6.17), (13.845,6.085,14.295,6.17), (6.705,6.17,14.295,6.45), (6.705,6.45,7.155,6.535), (10.785,6.45,11.23,6.535), (13.845,6.45,14.295,6.535), (15.41,7.045,15.775,7.44), (7.26,7.05,7.625,7.445), (9.305,7.05,9.67,7.445), (11.335,7.05,11.7,7.445), (13.37,7.05,13.735,7.445), (19.49,7.05,19.855,7.445), (5.215,7.055,5.58,7.45), (17.45,7.055,17.815,7.45), (3.17,7.06,3.535,7.455), (1.12,7.065,1.485,7.46), (15.44,7.44,15.72,9.315), (7.29,7.445,7.57,9.315), (9.325,7.445,9.605,9.315), (11.4,7.445,11.68,9.315), (13.385,7.445,13.665,9.315), (19.55,7.445,19.83,9.315), (5.235,7.45,5.515,9.315), (17.52,7.45,17.8,9.315), (3.19,7.455,3.47,9.315), (1.145,7.46,1.425,9.285), (1.1,9.285,1.465,9.315), (1.1,9.315,19.83,9.34), (1.1,9.34,19.85,9.595), (1.1,9.595,1.465,9.68), (3.155,9.595,3.52,9.72), (5.19,9.595,5.555,9.715), (7.24,9.595,7.605,9.715), (9.27,9.595,9.635,9.715), (11.32,9.595,11.685,9.715), (13.355,9.595,13.72,9.715), (15.38,9.595,15.745,9.715), (17.43,9.595,17.795,9.715), (19.485,9.595,19.85,9.735), (11.805,10.235,12.255,10.685), (8.745,10.245,9.195,10.695), (20.06,11.22,22.42,11.58), (0.12,11.28,0.505,11.285), (-0.91,11.285,0.505,11.645), (20.06,11.58,20.445,11.6), (22.06,11.58,22.42,22.15), (-0.91,11.645,-0.55,22.17), (0.12,11.645,0.505,11.66), (20.725,12.35,21.09,12.745), (0.08,12.455,0.445,12.85), (20.755,12.745,21.035,18.805), (0.115,12.85,0.395,18.805), (9.535,13.32,9.9,13.335), (5.615,13.335,13.86,13.34), (5.4,13.34,13.86,13.345), (5.4,13.345,14.005,13.615), (5.4,13.615,5.765,13.735), (9.07,13.615,9.9,13.715), (11.55,13.615,11.83,17.875), (13.64,13.615,14.005,13.74), (9.07,13.715,9.35,17.87), (6.155,15.54,6.685,16.05), (14.315,15.555,14.82,16.04), (14.45,16.04,14.73,19.895), (6.265,16.05,6.545,19.885), (0.855,17.85,1.295,18.29), (19.69,17.85,20.13,18.29), (9.045,17.87,9.41,17.95), (11.55,17.875,11.97,17.95), (9.045,17.95,11.97,18.23), (9.045,18.23,9.41,18.265), (11.605,18.23,11.97,18.27), (0.95,18.29,1.23,19.825), (19.78,18.29,20.06,19.825), (-0.02,18.805,0.395,19.16), (20.705,18.805,21.07,19.2), (-0.02,19.16,0.345,19.2), (0.46,19.825,1.23,20.105), (19.78,19.825,20.575,20.105), (5.765,19.885,6.545,19.915), (14.05,19.895,14.73,19.915), (5.685,19.915,6.545,20.165), (13.845,19.915,14.73,20.175), (0.46,20.105,0.74,21.32), (20.295,20.105,20.575,21.32), (5.685,20.165,6.135,20.365), (13.845,20.175,14.295,20.365), (1.14,20.65,1.505,20.685), (3.18,20.65,3.545,20.685), (5.215,20.65,5.58,20.685), (13.375,20.65,13.74,20.685), (15.4,20.65,15.765,20.685), (17.46,20.65,17.825,20.685), (19.495,20.65,19.86,20.685), (1.14,20.685,19.86,20.965), (1.14,20.965,1.505,21.045), (3.18,20.965,3.545,21.045), (5.215,20.965,5.58,21.045), (13.375,20.965,13.74,21.045), (15.4,20.965,15.765,21.045), (17.46,20.965,17.825,21.045), (19.495,20.965,19.86,21.045), (2.155,21.245,2.58,21.385), (0.46,21.32,1.03,21.74), (19.965,21.32,20.575,21.73), (2.155,21.385,3.73,21.665), (3.45,21.665,3.73,23.14), (19.965,21.73,20.415,21.77), (0.585,21.74,1.03,21.775), (18.83,22.15,22.42,22.155), (18.715,22.155,22.42,22.51), (-0.91,22.17,2.23,22.175), (-0.91,22.175,2.305,22.53), (18.715,22.51,19.09,22.55), (1.92,22.53,2.305,22.555), (18.785,22.55,19.065,27.22), (1.965,22.555,2.245,27.32), (3.405,23.14,3.855,23.585), (3.45,23.585,3.73,26.38), (13.805,23.9,14.18,24.295), (15.855,23.9,16.23,24.295), (11.78,23.91,12.155,24.305), (17.9,23.91,18.275,24.305), (13.86,24.295,14.14,25.635), (15.89,24.295,16.17,25.64), (11.85,24.305,12.13,25.655), (17.925,24.305,18.205,25.64), (10.73,24.765,11.18,25.215), (10.815,25.215,11.095,28.475), (13.815,25.635,14.19,25.71), (15.85,25.64,16.225,25.71), (17.9,25.64,18.275,25.71), (11.775,25.655,12.15,25.71), (11.775,25.71,18.275,25.99), (11.775,25.99,12.15,26.05), (13.815,25.99,14.19,26.03), (15.85,25.99,16.225,26.035), (17.9,25.99,18.275,26.035), (5.445,26.325,5.895,26.38), (3.45,26.38,5.895,26.66), (5.445,26.66,5.895,26.775), (18.715,27.22,19.09,27.615), (1.92,27.32,2.305,27.7), (8.815,28.405,9.265,28.475), (11.875,28.405,12.325,28.475), (8.815,28.475,12.325,28.755), (8.815,28.755,9.265,28.855), (11.875,28.755,12.325,28.855)])
R(current_mirror_top, via2, [(6.795,6.175,7.055,6.435), (13.93,6.175,14.19,6.435), (10.875,6.18,11.135,6.44), (11.9,10.33,12.16,10.59), (8.84,10.34,9.1,10.6)])
R(current_mirror_top, metal3, [(6.705,6.085,7.155,6.145), (10.785,6.085,11.235,6.145), (13.845,6.085,14.295,6.145), (6.705,6.145,14.295,6.45), (6.705,6.45,7.39,6.455), (8.845,6.45,9.15,10.245), (10.785,6.45,11.235,6.535), (11.875,6.45,12.18,10.235), (13.845,6.45,14.295,6.535), (6.705,6.455,7.155,6.535), (11.805,10.235,12.255,10.335), (8.745,10.245,9.195,10.335), (8.745,10.335,12.255,10.64), (8.745,10.64,9.195,10.695), (11.805,10.64,12.255,10.685)])
R(current_mirror_top, lvpwell, [(9.875,23.435,11.935,24.715), (9.78,25.2,11.935,26.48)])
current_mirror_top.add(gdstk.Reference(nmos_3p3_z2jhd6, (10.5,1.195)))
current_mirror_top.add(gdstk.Reference(nmos_3p3_z2jhd6, (10.5,3.435)))
current_mirror_top.add(gdstk.Reference(nmos_3p3_z2jhd6, (10.5,7.255)))
current_mirror_top.add(gdstk.Reference(nmos_3p3_z2jhd6, (10.5,9.51)))
current_mirror_top.add(gdstk.Reference(pmos_3p3_zbcnd7, (10.5,14.48)))
current_mirror_top.add(gdstk.Reference(pmos_3p3_zbcnd7, (10.5,17.105)))
current_mirror_top.add(gdstk.Reference(pmos_3p3_5qr9e7, (10.5,20.785)))
current_mirror_top.add(gdstk.Reference(nmos_3p3_ajea3b, (6.18,25.84)))
current_mirror_top.add(gdstk.Reference(nmos_3p3_ajea3b, (15.035,24.075)))
current_mirror_top.add(gdstk.Reference(nmos_3p3_ajea3b, (6.18,24.075)))
current_mirror_top.add(gdstk.Reference(nmos_3p3_ajea3b, (15.035,25.84)))
current_mirror_top.add(gdstk.Reference(pmos_3p3_dvj9e7, (10.57,29.375)))
current_mirror_top.add(gdstk.Label('VDD', (2.525,31.295), layer=22, texttype=0))
current_mirror_top.add(gdstk.Label('G_source_up', (1.505,28.735), layer=34, texttype=10))
current_mirror_top.add(gdstk.Label('G_source_dn', (1.505,28.27), layer=34, texttype=10))
current_mirror_top.add(gdstk.Label('VSS', (2.565,27.39), layer=34, texttype=10))
current_mirror_top.add(gdstk.Label('G_sink_up', (1.57,26.395), layer=34, texttype=10))
current_mirror_top.add(gdstk.Label('G_sink_dn', (1.535,25.09), layer=34, texttype=10))
current_mirror_top.add(gdstk.Label('SD0_1', (11.975,25.865), layer=34, texttype=10))
current_mirror_top.add(gdstk.Label('G1_2', (0.8,21.56), layer=30, texttype=10))
current_mirror_top.add(gdstk.Label('G1_1', (5.875,20.115), layer=30, texttype=10))
current_mirror_top.add(gdstk.Label('SD1_1', (1.315,20.85), layer=34, texttype=10))
current_mirror_top.add(gdstk.Label('G2_1', (1.805,2.495), layer=30, texttype=10))
current_mirror_top.add(gdstk.Label('SD2_1', (1.26,9.505), layer=34, texttype=10))
current_mirror_top.add(gdstk.Label('ITAIL', (-0.715,0.692), layer=34, texttype=10))

lib.write_gds('Current_Mirror_Top.gds')
